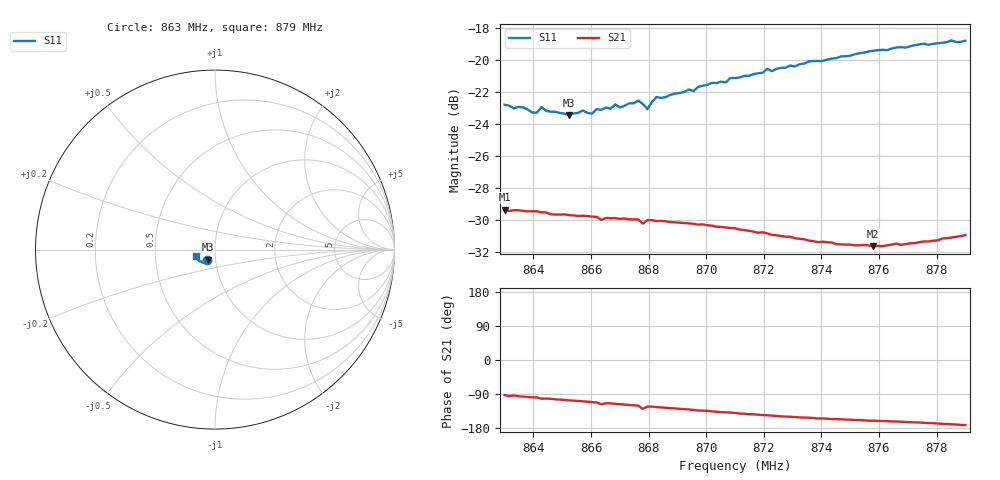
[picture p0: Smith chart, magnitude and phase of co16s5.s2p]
# HZ S RI R 50
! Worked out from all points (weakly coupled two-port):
!   101 points, 863 MHz to 879 MHz, reference 50 ohm
!   highest |S21| = -29.34 dB at 863 MHz (marker M1); lowest = -31.6 dB at 875.8 MHz (marker M2)
!   lowest |S11| = -23.4 dB at 865.24 MHz (marker M3), VSWR 1.14, Z = 46.1 - j5.19 ohm
!   |S11| at or under -10 dB: start of sweep to end of sweep
!   S12 and S22 are empty: the file has one direction only
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8.63e8  -0.0464 -0.0559  -0.00146 -0.0341  0 0  0 0
8.6396e8  -0.0418 -0.0544  -0.00505 -0.0333  0 0  0 0
8.6412e8  -0.0406 -0.0552  -0.00509 -0.0333  0 0  0 0
8.6428e8  -0.0426 -0.0572  -0.00695 -0.0327  0 0  0 0
8.6524e8  -0.0375 -0.056  -0.00938 -0.0314  0 0  0 0
8.6572e8  -0.0374 -0.0587  -0.0107 -0.0308  0 0  0 0
8.6604e8  -0.0364 -0.0576  -0.0117 -0.0302  0 0  0 0
8.662e8  -0.0385 -0.0588  -0.0121 -0.03  0 0  0 0
8.6636e8  -0.0379 -0.0588  -0.0144 -0.0282  0 0  0 0
8.6668e8  -0.0368 -0.0601  -0.0132 -0.0292  0 0  0 0
8.6684e8  -0.0379 -0.0621  -0.0139 -0.0289  0 0  0 0
8.67e8  -0.0366 -0.061  -0.0143 -0.0285  0 0  0 0
8.6764e8  -0.0386 -0.064  -0.016 -0.0274  0 0  0 0
8.678e8  -0.0372 -0.0627  -0.0195 -0.0239  0 0  0 0
8.6796e8  -0.038 -0.0592  -0.0171 -0.0266  0 0  0 0
8.6828e8  -0.0388 -0.0662  -0.0177 -0.0259  0 0  0 0
8.6844e8  -0.0385 -0.0657  -0.0181 -0.0257  0 0  0 0
8.71e8  -0.0507 -0.0718  -0.0227 -0.0193  0 0  0 0
8.7372e8  -0.0681 -0.0723  -0.0242 -0.0123  0 0  0 0
8.758e8  -0.0863 -0.0633  -0.0246 -0.00893  0 0  0 0
8.7644e8  -0.091 -0.0595  -0.0252 -0.00813  0 0  0 0
8.79e8  -0.1086 -0.0381  -0.0281 -0.00411  0 0  0 0
